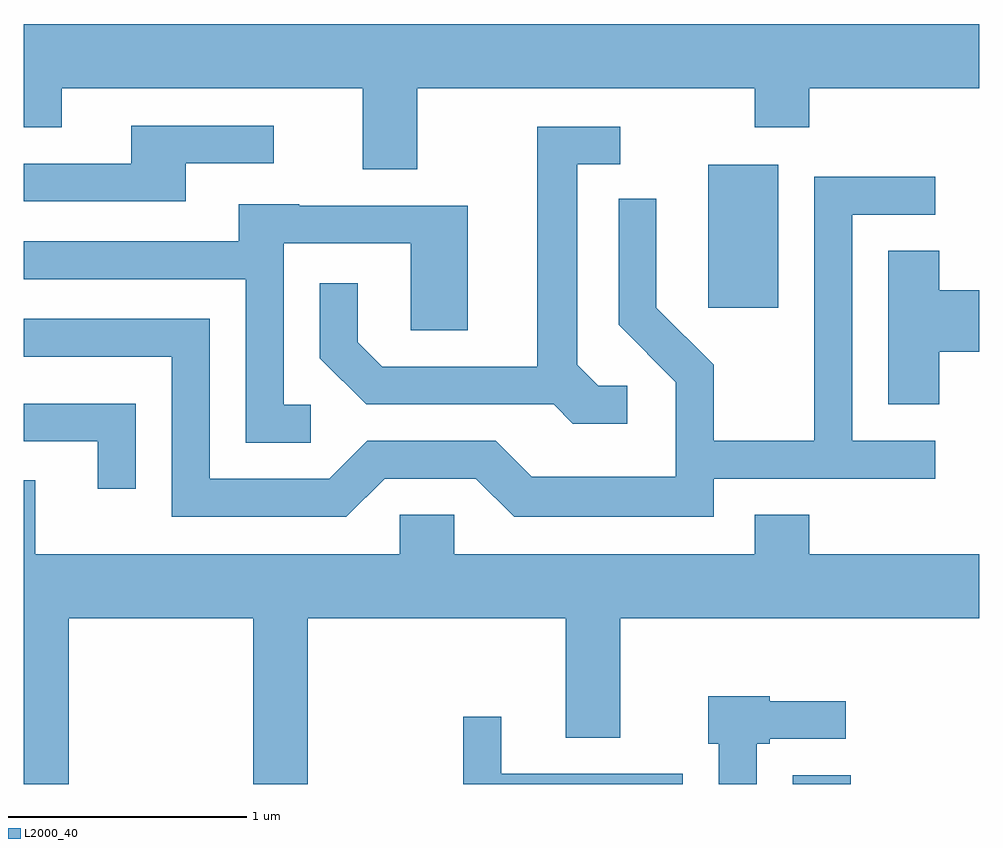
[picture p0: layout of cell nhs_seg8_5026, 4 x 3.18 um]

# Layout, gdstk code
import gdstk
lib = gdstk.Library(unit=1e-6, precision=1e-09)
def R(c, l, rs):  # rectangles x0, y0, x1, y1
    for r in rs: c.add(gdstk.rectangle(r[:2], r[2:], *l))
def P(c, l, *ps):  # polygons
    for p in ps: c.add(gdstk.Polygon(p, *l))
L2000_40 = (2000, 40)

nhs_seg8_5026 = lib.new_cell('nhs_seg8_5026')
R(nhs_seg8_5026, L2000_40, [(338.831,1882.342,339.074,1882.379), (338.476,1884.336,338.769,1884.934)])
P(nhs_seg8_5026, L2000_40, [(337.259,1885.256),(338.671,1885.256),(338.671,1885.091),(338.899,1885.091),(338.899,1885.256),(339.611,1885.256),(339.611,1885.524),(335.611,1885.524),(335.611,1885.091),(335.769,1885.091),(335.769,1885.256),(337.031,1885.256),(337.031,1884.916),(337.259,1884.916)],
  [(336.289,1884.941),(336.658,1884.941),(336.658,1885.099),(336.061,1885.099),(336.061,1884.939),(335.611,1884.939),(335.611,1884.781),(336.289,1884.781)],
  [(338.138,1884.009),(338.017,1884.009),(337.929,1884.097),(337.929,1884.936),(338.108,1884.936),(338.108,1885.094),(337.761,1885.094),(337.761,1884.089),(337.112,1884.089),(337.009,1884.192),(337.009,1884.438),(336.851,1884.438),(336.851,1884.124),(337.044,1883.931),(337.829,1883.931),(337.909,1883.851),(338.138,1883.851)],
  [(337.122,1883.621),(337.504,1883.621),(337.664,1883.461),(338.499,1883.461),(338.499,1883.621),(339.428,1883.621),(339.428,1883.779),(339.079,1883.779),(339.079,1884.726),(339.428,1884.726),(339.428,1884.884),(338.921,1884.884),(338.921,1883.779),(338.499,1883.779),(338.499,1884.097),(338.259,1884.337),(338.259,1884.793),(338.101,1884.793),(338.101,1884.264),(338.341,1884.024),(338.341,1883.629),(337.737,1883.629),(337.587,1883.779),(337.049,1883.779),(336.889,1883.619),(336.389,1883.619),(336.389,1884.289),(335.611,1884.289),(335.611,1884.131),(336.231,1884.131),(336.231,1883.461),(336.962,1883.461)],
  [(336.813,1883.929),(336.699,1883.929),(336.699,1884.606),(337.231,1884.606),(337.231,1884.241),(337.469,1884.241),(337.469,1884.764),(336.765,1884.764),(336.765,1884.769),(336.511,1884.769),(336.511,1884.614),(335.611,1884.614),(335.611,1884.456),(336.541,1884.456),(336.541,1883.771),(336.813,1883.771)],
  [(339.444,1884.151),(339.611,1884.151),(339.611,1884.409),(339.444,1884.409),(339.444,1884.574),(339.231,1884.574),(339.231,1883.931),(339.444,1883.931)],
  [(336.079,1883.934),(335.611,1883.934),(335.611,1883.776),(335.921,1883.776),(335.921,1883.578),(336.079,1883.578)],
  [(335.799,1883.036),(336.571,1883.036),(336.571,1882.342),(336.799,1882.342),(336.799,1883.036),(337.881,1883.036),(337.881,1882.536),(338.109,1882.536),(338.109,1883.036),(339.611,1883.036),(339.611,1883.304),(338.899,1883.304),(338.899,1883.469),(338.671,1883.469),(338.671,1883.304),(337.414,1883.304),(337.414,1883.469),(337.186,1883.469),(337.186,1883.304),(335.659,1883.304),(335.659,1883.614),(335.611,1883.614),(335.611,1882.342),(335.799,1882.342)],
  [(338.679,1882.511),(338.734,1882.511),(338.734,1882.531),(339.053,1882.531),(339.053,1882.689),(338.734,1882.689),(338.734,1882.709),(338.476,1882.709),(338.476,1882.511),(338.521,1882.511),(338.521,1882.342),(338.679,1882.342)],
  [(338.369,1882.384),(337.609,1882.384),(337.609,1882.623),(337.451,1882.623),(337.451,1882.342),(338.369,1882.342)])

lib.write_gds('nhs_seg8_5026.gds')
